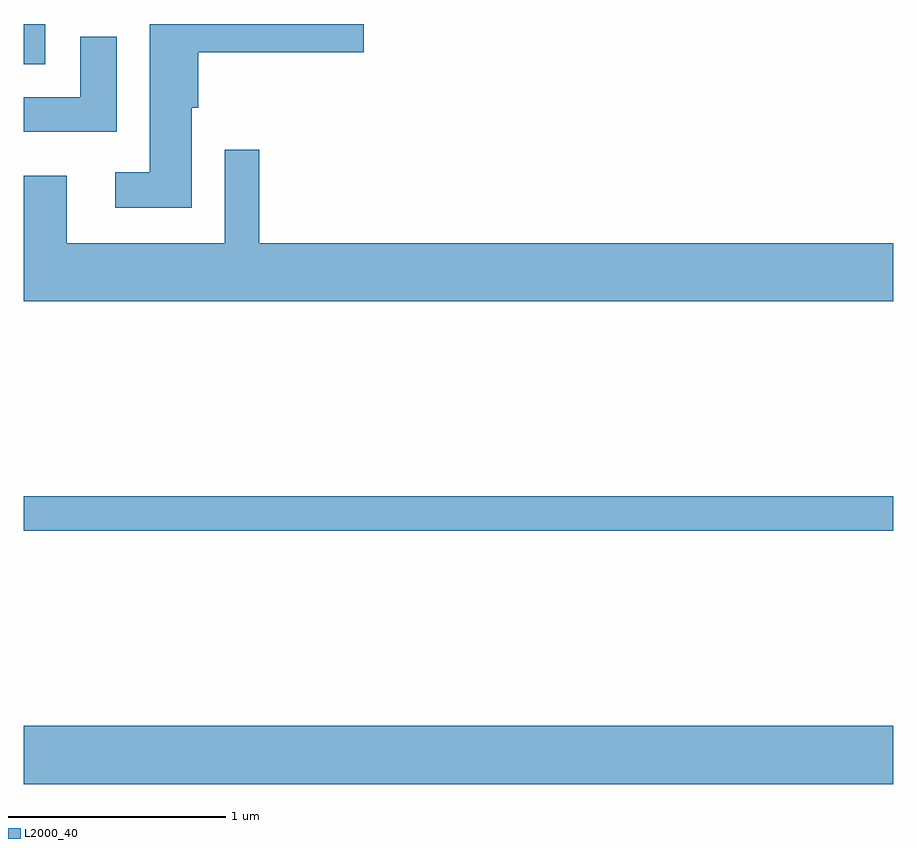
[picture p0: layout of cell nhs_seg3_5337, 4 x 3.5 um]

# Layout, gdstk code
import gdstk
lib = gdstk.Library(unit=1e-6, precision=1e-09)
def R(c, l, rs):  # rectangles x0, y0, x1, y1
    for r in rs: c.add(gdstk.rectangle(r[:2], r[2:], *l))
def P(c, l, *ps):  # polygons
    for p in ps: c.add(gdstk.Polygon(p, *l))
L2000_40 = (2000, 40)

nhs_seg3_5337 = lib.new_cell('nhs_seg3_5337')
R(nhs_seg3_5337, L2000_40, [(341.611,1190.396,345.611,1190.664), (341.611,1191.561,345.611,1191.719), (341.611,1193.706,341.709,1193.892)])
P(nhs_seg3_5337, L2000_40, [(342.384,1193.506),(342.414,1193.506),(342.414,1193.761),(343.174,1193.761),(343.174,1193.892),(342.191,1193.892),(342.191,1193.209),(342.033,1193.209),(342.033,1193.046),(342.384,1193.046)],
  [(342.039,1193.833),(341.871,1193.833),(341.871,1193.554),(341.611,1193.554),(341.611,1193.396),(342.039,1193.396)],
  [(345.611,1192.884),(342.694,1192.884),(342.694,1193.313),(342.536,1193.313),(342.536,1192.884),(341.809,1192.884),(341.809,1193.194),(341.611,1193.194),(341.611,1192.616),(345.611,1192.616)])

lib.write_gds('nhs_seg3_5337.gds')
